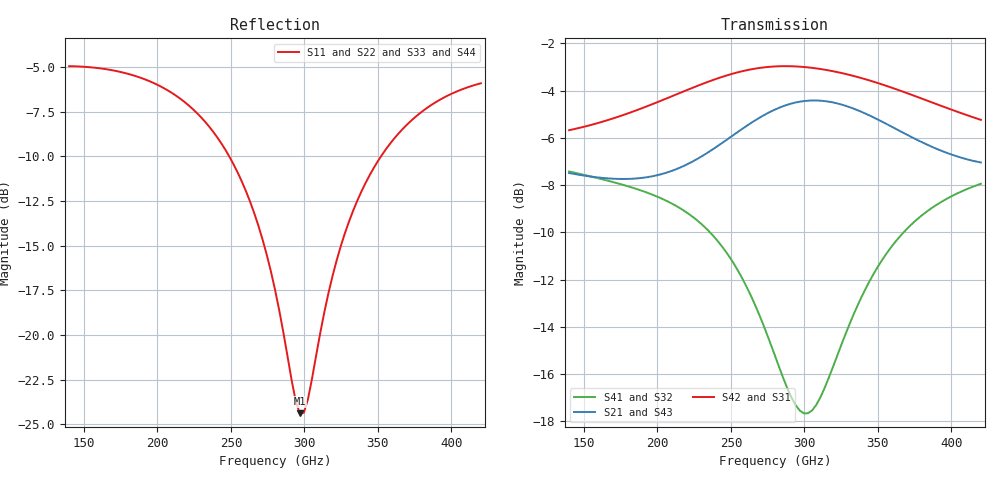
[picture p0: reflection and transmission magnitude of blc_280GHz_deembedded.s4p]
! Created with skrf 2.2.0 (http://scikit-rf.org).
# GHz S DB R 50.0
! Port[1] = P1
! Port[2] = P2
! Port[3] = P3
! Port[4] = P4
!freq dBS11 angS11 dBS12 angS12 dBS13 angS13
! dBS14 angS14
! dBS21 angS21 dBS22 angS22 dBS23 angS23
! dBS24 angS24
! dBS31 angS31 dBS32 angS32 dBS33 angS33
! dBS34 angS34
! dBS41 angS41 dBS42 angS42 dBS43 angS43
! dBS44 angS44
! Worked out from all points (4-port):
!   101 points, 140 GHz to 420 GHz, reference 50 ohm
!   strongest paths, dB at 140 GHz, 210 GHz, 280 GHz, 350 GHz, 420 GHz:
!     S42: -5.7, -4.2, -3.0, -3.7, -5.2
!     S31: -5.7, -4.2, -3.0, -3.7, -5.2
!     S21: -7.5, -7.4, -4.8, -5.2, -7.0
!     S43: -7.5, -7.4, -4.8, -5.2, -7.1
!     S41: -7.4, -8.8, -15.2, -11.5, -7.9
!     S32: -7.4, -8.8, -15.2, -11.5, -8.0
!   lowest |S11| = -24.4 dB at 296.8 GHz (marker M1), VSWR 1.13, Z = 56.4 + j0.111 ohm
!   |S11| at or under -10 dB: 248.8 GHz to 352.1 GHz (103.3 GHz wide, 34.4 % of centre)
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140  -4.96 159.4  -7.49 -48.8  -5.68 -77.0  -7.42 -59.5
     -7.49 -48.8  -4.96 159.4  -7.42 -59.5  -5.68 -77.0
     -5.68 -77.0  -7.42 -59.5  -4.97 159.4  -7.48 -48.8
     -7.42 -59.5  -5.68 -77.0  -7.48 -48.8  -4.96 159.4
201.6  -6.07 134.0  -7.56 -60.0  -4.45 -112.6  -8.54 -85.9
       -7.56 -60.0  -6.07 134.1  -8.53 -85.9  -4.45 -112.6
       -4.45 -112.6  -8.53 -85.9  -6.08 134.1  -7.55 -60.1
       -8.54 -85.9  -4.45 -112.6  -7.55 -60.1  -6.07 134.1
243.6  -9.29 107.4  -6.24 -68.9  -3.43 -142.0  -10.57 -107.1
       -6.24 -68.9  -9.30 107.4  -10.56 -107.1  -3.43 -142.0
       -3.43 -142.0  -10.56 -107.1  -9.32 107.4  -6.24 -69.1
       -10.57 -107.1  -3.43 -142.0  -6.24 -69.1  -9.31 107.4
271.6  -14.68 80.3  -5.07 -81.0  -3.03 -164.2  -13.85 -116.1
       -5.07 -81.0  -14.71 80.2  -13.84 -116.2  -3.02 -164.2
       -3.03 -164.2  -13.84 -116.2  -14.74 80.3  -5.07 -81.2
       -13.85 -116.1  -3.02 -164.2  -5.07 -81.2  -14.71 80.2
296.8  -24.39 0.9  -4.47 -95.8  -2.99 175.3  -17.55 -99.0
       -4.47 -95.8  -24.36 0.1  -17.55 -99.2  -2.99 175.2
       -2.99 175.3  -17.55 -99.2  -24.41 -0.2  -4.47 -96.0
       -17.55 -99.0  -2.99 175.2  -4.47 -96.0  -24.39 0.1
344.4  -11.06 -113.1  -5.06 -123.7  -3.57 138.2  -12.06 -72.2
       -5.06 -123.7  -11.02 -113.0  -12.08 -72.1  -3.57 138.2
       -3.57 138.2  -12.08 -72.1  -11.01 -113.0  -5.07 -123.9
       -12.06 -72.2  -3.57 138.2  -5.07 -123.9  -11.02 -113.1
420  -5.92 -154.4  -7.04 -148.0  -5.24 88.0  -7.95 -108.1
     -7.04 -148.0  -5.90 -154.2  -7.96 -108.0  -5.24 87.9
     -5.24 88.0  -7.96 -108.0  -5.89 -154.2  -7.07 -148.2
     -7.95 -108.1  -5.24 87.9  -7.07 -148.2  -5.89 -154.4
